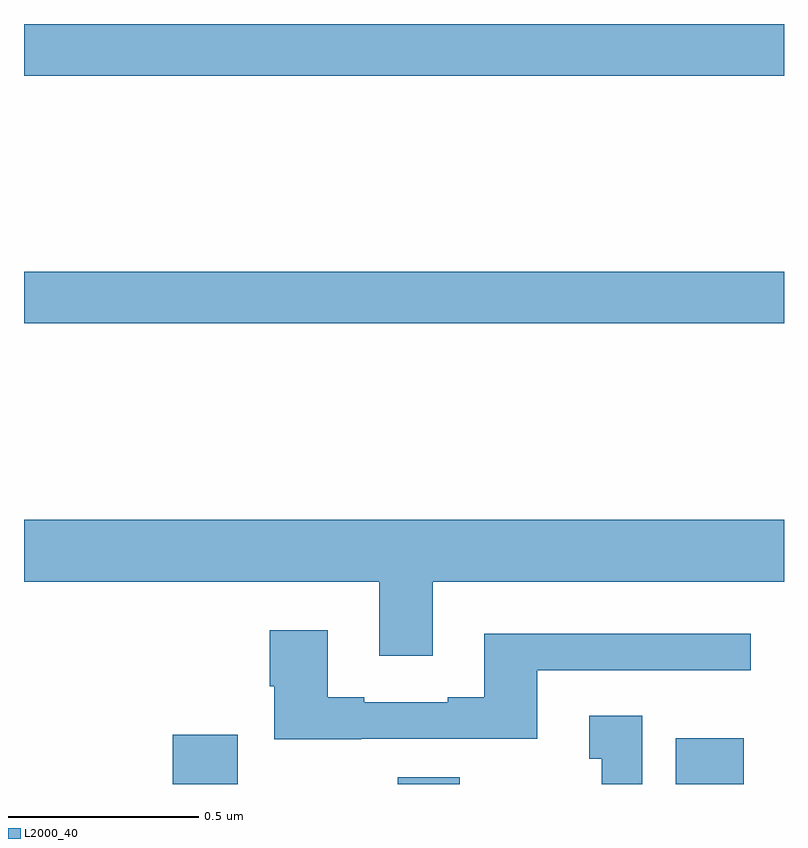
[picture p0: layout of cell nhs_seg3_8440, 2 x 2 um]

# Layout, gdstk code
import gdstk
lib = gdstk.Library(unit=1e-6, precision=1e-09)
def R(c, l, rs):  # rectangles x0, y0, x1, y1
    for r in rs: c.add(gdstk.rectangle(r[:2], r[2:], *l))
def P(c, l, *ps):  # polygons
    for p in ps: c.add(gdstk.Polygon(p, *l))
L2000_40 = (2000, 40)

nhs_seg3_8440 = lib.new_cell('nhs_seg3_8440')
R(nhs_seg3_8440, L2000_40, [(216.392,684.4,216.562,684.529), (216.983,684.4,217.147,684.418), (217.715,684.4,217.894,684.52), (216,685.612,218,685.748), (216,686.264,218,686.4)])
P(nhs_seg3_8440, L2000_40, [(217.075,684.932),(218,684.932),(218,685.096),(216,685.096),(216,684.932),(216.935,684.932),(216.935,684.738),(217.075,684.738)],
  [(216.887,684.519),(217.351,684.519),(217.351,684.699),(217.912,684.699),(217.912,684.796),(217.211,684.796),(217.211,684.628),(217.115,684.628),(217.115,684.615),(216.895,684.615),(216.895,684.628),(216.799,684.628),(216.799,684.805),(216.647,684.805),(216.647,684.657),(216.659,684.657),(216.659,684.518),(216.887,684.518)],
  [(217.627,684.58),(217.487,684.58),(217.487,684.467),(217.52,684.467),(217.52,684.4),(217.627,684.4)])

lib.write_gds('nhs_seg3_8440.gds')
